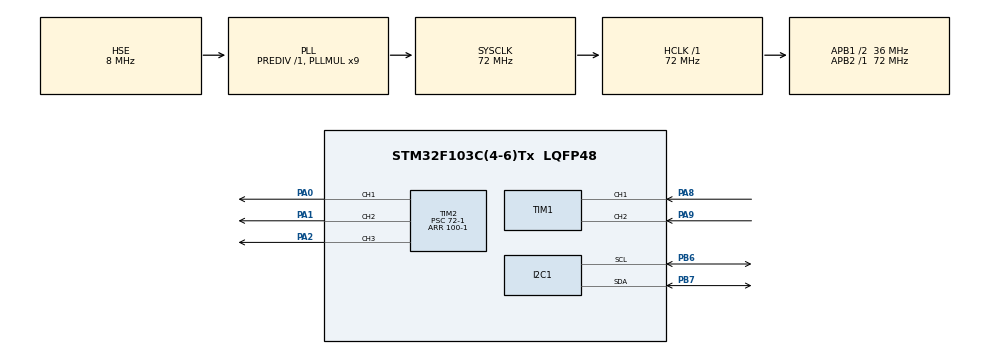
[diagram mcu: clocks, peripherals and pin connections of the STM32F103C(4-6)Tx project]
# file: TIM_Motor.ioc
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Mcu.Family=STM32F1
Mcu.Name=STM32F103C(4-6)Tx
Mcu.Package=LQFP48
NVIC.PriorityGroup=NVIC_PRIORITYGROUP_4
PA0-WKUP.Signal=S_TIM2_CH1_ETR
PA1.Signal=S_TIM2_CH2
PA13.Mode=Serial_Wire
PA13.Signal=SYS_JTMS-SWDIO
PA14.Mode=Serial_Wire
PA14.Signal=SYS_JTCK-SWCLK
PA2.Signal=S_TIM2_CH3
PA8.Signal=S_TIM1_CH1
PA9.Signal=S_TIM1_CH2
PB6.Mode=I2C
PB6.Signal=I2C1_SCL
PB7.Mode=I2C
PB7.Signal=I2C1_SDA
PD0-OSC_IN.Mode=HSE-External-Oscillator
PD0-OSC_IN.Signal=RCC_OSC_IN
PD1-OSC_OUT.Mode=HSE-External-Oscillator
PD1-OSC_OUT.Signal=RCC_OSC_OUT
ProjectManager.HeapSize=0x200
ProjectManager.StackSize=0x400
ProjectManager.TargetToolchain=CMake
RCC.AHBFreq_Value=72000000
RCC.APB1CLKDivider=RCC_HCLK_DIV2
RCC.APB1Freq_Value=36000000
RCC.APB1TimFreq_Value=72000000
RCC.APB2Freq_Value=72000000
RCC.APB2TimFreq_Value=72000000
RCC.HCLKFreq_Value=72000000
RCC.PLLMUL=RCC_PLL_MUL9
RCC.PLLSourceVirtual=RCC_PLLSOURCE_HSE
RCC.SYSCLKFreq_VALUE=72000000
RCC.SYSCLKSource=RCC_SYSCLKSOURCE_PLLCLK
RCC.USBFreq_Value=72000000
SH.S_TIM1_CH1.0=TIM1_CH1,Encoder_Interface
SH.S_TIM1_CH2.0=TIM1_CH2,Encoder_Interface
SH.S_TIM2_CH1_ETR.0=TIM2_CH1,PWM Generation1 CH1
SH.S_TIM2_CH2.0=TIM2_CH2,PWM Generation2 CH2
SH.S_TIM2_CH3.0=TIM2_CH3,PWM Generation3 CH3
TIM1.IC2Polarity=TIM_ICPOLARITY_FALLING
TIM2.Channel-PWM\ Generation1\ CH1=TIM_CHANNEL_1
TIM2.Channel-PWM\ Generation2\ CH2=TIM_CHANNEL_2
TIM2.Channel-PWM\ Generation3\ CH3=TIM_CHANNEL_3
TIM2.Period=100-1
TIM2.Prescaler=72-1
VP_TIM2_VS_ClockSourceINT.Mode=Internal
board=custom

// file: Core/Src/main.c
/* USER CODE BEGIN Header */
/**
  ******************************************************************************
  * @file           : main.c
  * @brief          : Main program body
  ******************************************************************************
  * @attention
  *
  * Copyright (c) 2026 STMicroelectronics.
  * All rights reserved.
  *
  * This software is licensed under terms that can be found in the LICENSE file
  * in the root directory of this software component.
  * If no LICENSE file comes with this software, it is provided AS-IS.
  *
  ******************************************************************************
  */
/* USER CODE END Header */
#include "main.h"
#include "i2c.h"
#include "stm32_hal_legacy.h"
#include "stm32f1xx_hal_tim.h"
#include "tim.h"
#include "gpio.h"

/* USER CODE BEGIN Includes */
#include "drv8833.h"
#include "oled.h"
#include "font.h"
#include <stdio.h>
/* USER CODE END Includes */

/* USER CODE BEGIN PTD */
#define COUNTER_MID 20
/* USER CODE END PTD */

void SystemClock_Config(void);

int main(void)
{

  /* MCU Configuration--------------------------------------------------------*/

  /* Reset of all peripherals, Initializes the Flash interface and the Systick. */
  HAL_Init();

  /* Configure the system clock */
  SystemClock_Config();

  /* Initialize all configured peripherals */
  MX_GPIO_Init();
  MX_I2C1_Init();
  MX_TIM1_Init();
  MX_TIM2_Init();
  /* USER CODE BEGIN 2 */
  DRV8833_Init();
  OLED_Init();
  HAL_TIM_Encoder_Start(&htim1, TIM_CHANNEL_ALL);
  __HAL_TIM_SET_COUNTER(&htim1, COUNTER_MID);

  int count = 0;
  int speed = 0;

  char message[32] = {0};
  /* USER CODE END 2 */

  /* Infinite loop */
  /* USER CODE BEGIN WHILE */
  while (1)
  {
    OLED_NewFrame();

    count =__HAL_TIM_GET_COUNTER(&htim1);
    if(count > 6000){
      count = 0;
      __HAL_TIM_SET_COUNTER(&htim1, 0);
    }else if(count > COUNTER_MID*2){
      count = COUNTER_MID*2;
      __HAL_TIM_SetCounter(&htim1, COUNTER_MID*2);
    }
    if (count < COUNTER_MID){
      speed = (COUNTER_MID - count) * 100 / COUNTER_MID;
      DRV8833_Backward(speed);
    }else{
      speed = (count - COUNTER_MID) * 100 / COUNTER_MID;
      DRV8833_Forward(speed);
    }

    snprintf(message, sizeof(message), "speed: %d", speed);
    OLED_PrintString(13, 0, message, &font16x16, OLED_COLOR_NORMAL);
    OLED_DrawRectangle(13, 25, 101, 12, OLED_COLOR_NORMAL);
    OLED_DrawFilledRectangle(13, 26, speed, 11, OLED_COLOR_NORMAL);

    OLED_ShowFrame();

    HAL_Delay(10);
    /* USER CODE END WHILE */

  }
}

void SystemClock_Config(void)
{
  RCC_OscInitTypeDef RCC_OscInitStruct = {0};
  RCC_ClkInitTypeDef RCC_ClkInitStruct = {0};

  /** Initializes the RCC Oscillators according to the specified parameters
  * in the RCC_OscInitTypeDef structure.
  */
  RCC_OscInitStruct.OscillatorType = RCC_OSCILLATORTYPE_HSE;
  RCC_OscInitStruct.HSEState = RCC_HSE_ON;
  RCC_OscInitStruct.HSEPredivValue = RCC_HSE_PREDIV_DIV1;
  RCC_OscInitStruct.HSIState = RCC_HSI_ON;
  RCC_OscInitStruct.PLL.PLLState = RCC_PLL_ON;
  RCC_OscInitStruct.PLL.PLLSource = RCC_PLLSOURCE_HSE;
  RCC_OscInitStruct.PLL.PLLMUL = RCC_PLL_MUL9;
  if (HAL_RCC_OscConfig(&RCC_OscInitStruct) != HAL_OK)
  {
    Error_Handler();
  }

  /** Initializes the CPU, AHB and APB buses clocks
  */
  RCC_ClkInitStruct.ClockType = RCC_CLOCKTYPE_HCLK|RCC_CLOCKTYPE_SYSCLK
                              |RCC_CLOCKTYPE_PCLK1|RCC_CLOCKTYPE_PCLK2;
  RCC_ClkInitStruct.SYSCLKSource = RCC_SYSCLKSOURCE_PLLCLK;
  RCC_ClkInitStruct.AHBCLKDivider = RCC_SYSCLK_DIV1;
  RCC_ClkInitStruct.APB1CLKDivider = RCC_HCLK_DIV2;
  RCC_ClkInitStruct.APB2CLKDivider = RCC_HCLK_DIV1;

  if (HAL_RCC_ClockConfig(&RCC_ClkInitStruct, FLASH_LATENCY_2) != HAL_OK)
  {
    Error_Handler();
  }
}

void Error_Handler(void)
{
  __disable_irq();
  while (1)
  {
  }
}
